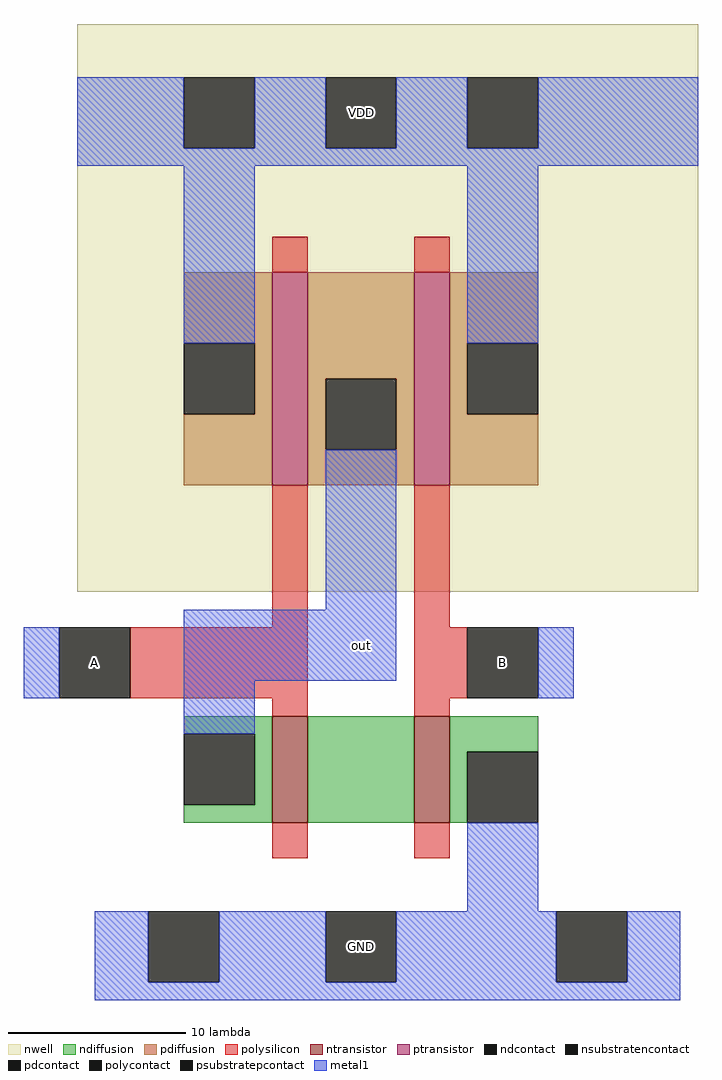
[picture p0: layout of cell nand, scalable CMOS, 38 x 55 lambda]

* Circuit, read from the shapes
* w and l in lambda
.subckt nand A B GND VDD out
M1 n1 A out GND nfet w=6 l=2
M2 GND B n1 GND nfet w=6 l=2
M3 out A VDD VDD pfet w=12 l=2
M4 VDD B out VDD pfet w=12 l=2
.ends

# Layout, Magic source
magic
tech scmos
<< nwell >>
rect -13 -8 22 24
<< ntransistor >>
rect -2 -21 0 -15
rect 6 -21 8 -15
<< ptransistor >>
rect -2 -2 0 10
rect 6 -2 8 10
<< ndiffusion >>
rect -7 -16 -2 -15
rect -3 -20 -2 -16
rect -7 -21 -2 -20
rect 0 -21 6 -15
rect 8 -17 13 -15
rect 8 -21 9 -17
<< pdiffusion >>
rect -7 6 -2 10
rect -3 2 -2 6
rect -7 -2 -2 2
rect 0 4 6 10
rect 0 0 1 4
rect 5 0 6 4
rect 0 -2 6 0
rect 8 6 13 10
rect 8 2 9 6
rect 8 -2 13 2
<< ndcontact >>
rect -7 -20 -3 -16
rect 9 -21 13 -17
<< pdcontact >>
rect -7 2 -3 6
rect 1 0 5 4
rect 9 2 13 6
<< psubstratepcontact >>
rect -9 -30 -5 -26
rect 1 -30 5 -26
rect 14 -30 18 -26
<< nsubstratencontact >>
rect -7 17 -3 21
rect 1 17 5 21
rect 9 17 13 21
<< polysilicon >>
rect -2 10 0 12
rect 6 10 8 12
rect -2 -10 0 -2
rect -10 -14 0 -10
rect -2 -15 0 -14
rect 6 -10 8 -2
rect 6 -14 9 -10
rect 6 -15 8 -14
rect -2 -23 0 -21
rect 6 -23 8 -21
<< polycontact >>
rect -14 -14 -10 -10
rect 9 -14 13 -10
<< metal1 >>
rect -13 17 -7 21
rect -3 17 1 21
rect 5 17 9 21
rect 13 17 22 21
rect -13 16 22 17
rect -7 6 -3 16
rect 9 6 13 16
rect 1 -9 5 0
rect -16 -14 -14 -10
rect -7 -13 5 -9
rect -7 -16 -3 -13
rect 13 -14 15 -10
rect 9 -26 13 -21
rect -12 -30 -9 -26
rect -5 -30 1 -26
rect 5 -30 14 -26
rect 18 -30 21 -26
rect -12 -31 21 -30
<< labels >>
rlabel psubstratepcontact 3 -28 3 -28 1 GND
rlabel nsubstratencontact 3 19 3 19 5 VDD
rlabel polycontact -12 -12 -12 -12 3 A
rlabel polycontact 11 -12 11 -12 1 B
rlabel metal1 3 -11 3 -11 1 out
<< end >>
